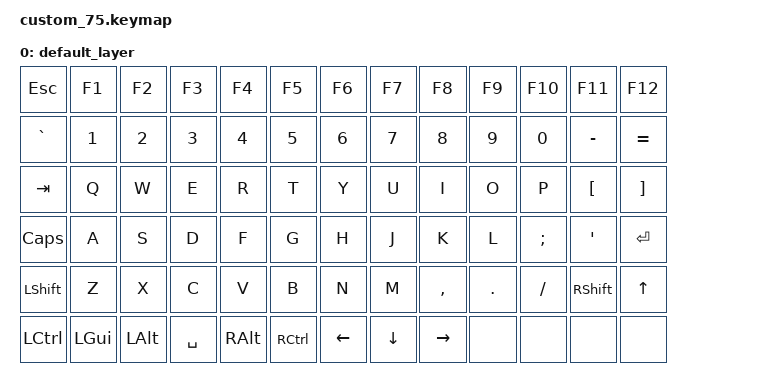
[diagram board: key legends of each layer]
#include <behaviors.dtsi>
#include <dt-bindings/zmk/keys.h>

/ {
    keymap {
        compatible = "zmk,keymap";

        default_layer {
            bindings = <
                // ROW 0 (13 keys)
                &kp ESC   &kp F1    &kp F2    &kp F3    &kp F4    &kp F5    &kp F6    &kp F7    &kp F8    &kp F9    &kp F10   &kp F11   &kp F12
                // ROW 1 (13 keys)
                &kp GRAVE &kp N1    &kp N2    &kp N3    &kp N4    &kp N5    &kp N6    &kp N7    &kp N8    &kp N9    &kp N0    &kp MINUS &kp EQUAL
                // ROW 2 (13 keys)
                &kp TAB   &kp Q     &kp W     &kp E     &kp R     &kp T     &kp Y     &kp U     &kp I     &kp O     &kp P     &kp LBKT  &kp RBKT
                // ROW 3 (13 keys)
                &kp CLCK  &kp A     &kp S     &kp D     &kp F     &kp G     &kp H     &kp J     &kp K     &kp L     &kp SEMI  &kp SQT   &kp ENTER
                // ROW 4 (13 keys)
                &kp LSHFT &kp Z     &kp X     &kp C     &kp V     &kp B     &kp N     &kp M     &kp COMMA &kp DOT   &kp FSLH  &kp RSHFT &kp UP
                // ROW 5 (13 keys total - matches your 8 physical keys + 5 blanks at the end)
                &kp LCTRL &kp LGUI  &kp LALT                      &kp SPACE                     &kp RALT  &kp RCTRL &kp LEFT  &kp DOWN  &kp RIGHT &none &none &none &none
            >;
        };
    };
};
